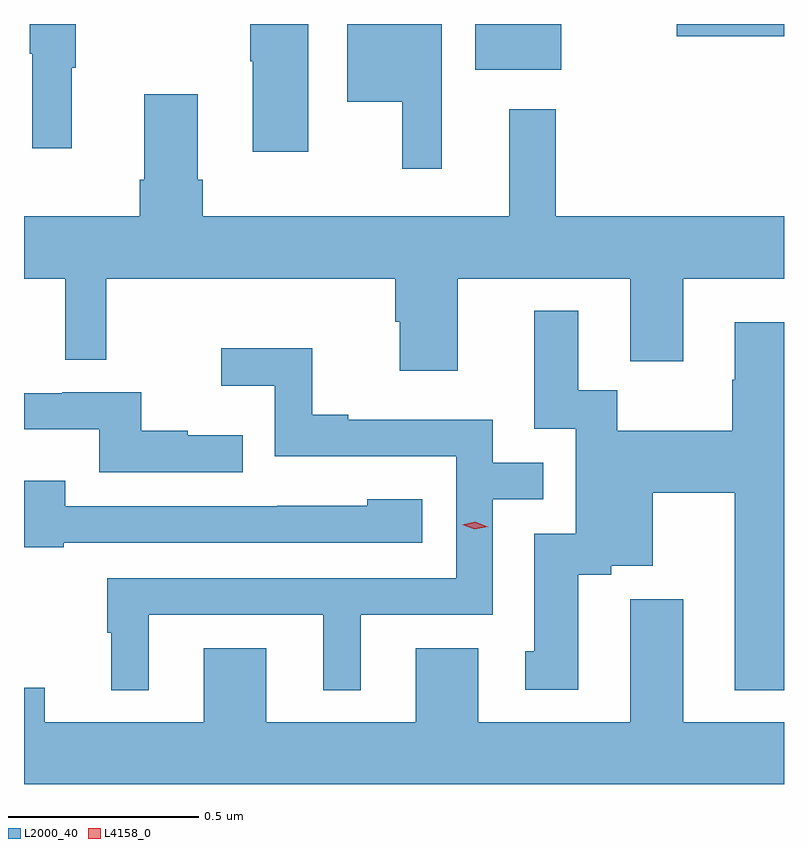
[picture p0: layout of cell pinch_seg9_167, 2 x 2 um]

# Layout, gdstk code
import gdstk
lib = gdstk.Library(unit=1e-6, precision=1e-09)
def R(c, l, rs):  # rectangles x0, y0, x1, y1
    for r in rs: c.add(gdstk.rectangle(r[:2], r[2:], *l))
def P(c, l, *ps):  # polygons
    for p in ps: c.add(gdstk.Polygon(p, *l))
L2000_40 = (2000, 40)
L4158_0 = (4158, 0)

pinch_seg9_167 = lib.new_cell('pinch_seg9_167')
R(pinch_seg9_167, L2000_40, [(650.993,1206.293,651.22,1206.414), (651.524,1206.382,651.806,1206.414)])
P(pinch_seg9_167, L2000_40, [(650.554,1206.414),(650.401,1206.414),(650.401,1206.316),(650.408,1206.316),(650.408,1206.078),(650.554,1206.078)],
  [(649.931,1206.299),(649.942,1206.299),(649.942,1206.414),(649.821,1206.414),(649.821,1206.336),(649.828,1206.336),(649.828,1206.087),(649.931,1206.087)],
  [(650.905,1206.414),(650.657,1206.414),(650.657,1206.209),(650.801,1206.209),(650.801,1206.033),(650.905,1206.033)],
  [(651.205,1206.19),(651.083,1206.19),(651.083,1205.908),(650.276,1205.908),(650.276,1206.004),(650.263,1206.004),(650.263,1206.229),(650.123,1206.229),(650.123,1206.004),(650.111,1206.004),(650.111,1205.908),(649.806,1205.908),(649.806,1205.744),(649.914,1205.744),(649.914,1205.53),(650.023,1205.53),(650.023,1205.744),(650.783,1205.744),(650.783,1205.631),(650.795,1205.631),(650.795,1205.502),(650.947,1205.502),(650.947,1205.744),(651.401,1205.744),(651.401,1205.526),(651.541,1205.526),(651.541,1205.744),(651.806,1205.744),(651.806,1205.908),(651.205,1205.908)],
  [(651.806,1205.629),(651.677,1205.629),(651.677,1205.478),(651.67,1205.478),(651.67,1205.344),(651.367,1205.344),(651.367,1205.45),(651.265,1205.45),(651.265,1205.659),(651.149,1205.659),(651.149,1205.349),(651.258,1205.349),(651.258,1205.073),(651.149,1205.073),(651.149,1204.764),(651.125,1204.764),(651.125,1204.662),(651.265,1204.662),(651.265,1204.965),(651.351,1204.965),(651.351,1204.988),(651.46,1204.988),(651.46,1205.18),(651.677,1205.18),(651.677,1204.661),(651.806,1204.661)],
  [(650.134,1204.86),(650.594,1204.86),(650.594,1204.661),(650.692,1204.661),(650.692,1204.86),(651.039,1204.86),(651.039,1205.163),(651.172,1205.163),(651.172,1205.259),(651.039,1205.259),(651.039,1205.373),(650.659,1205.373),(650.659,1205.386),(650.565,1205.386),(650.565,1205.561),(650.325,1205.561),(650.325,1205.462),(650.466,1205.462),(650.466,1205.277),(650.943,1205.277),(650.943,1204.956),(650.025,1204.956),(650.025,1204.812),(650.036,1204.812),(650.036,1204.661),(650.134,1204.661)],
  [(650.381,1205.332),(650.237,1205.332),(650.237,1205.344),(650.114,1205.344),(650.114,1205.445),(649.906,1205.445),(649.906,1205.442),(649.806,1205.442),(649.806,1205.348),(650.004,1205.348),(650.004,1205.235),(650.381,1205.235)],
  [(649.911,1205.049),(650.854,1205.049),(650.854,1205.164),(650.709,1205.164),(650.709,1205.146),(650.473,1205.146),(650.473,1205.145),(649.915,1205.145),(649.915,1205.212),(649.806,1205.212),(649.806,1205.037),(649.911,1205.037)],
  [(651.806,1204.576),(651.541,1204.576),(651.541,1204.9),(651.401,1204.9),(651.401,1204.576),(651.001,1204.576),(651.001,1204.771),(650.837,1204.771),(650.837,1204.576),(650.443,1204.576),(650.443,1204.771),(650.279,1204.771),(650.279,1204.576),(649.861,1204.576),(649.861,1204.667),(649.806,1204.667),(649.806,1204.414),(651.806,1204.414)])
P(pinch_seg9_167, L4158_0, [(650.992,1205.084),(650.959,1205.096),(650.959,1205.096),(650.959,1205.096),(650.994,1205.104),(651.027,1205.091),(651.028,1205.091),(651.027,1205.091)])

lib.write_gds('pinch_seg9_167.gds')
